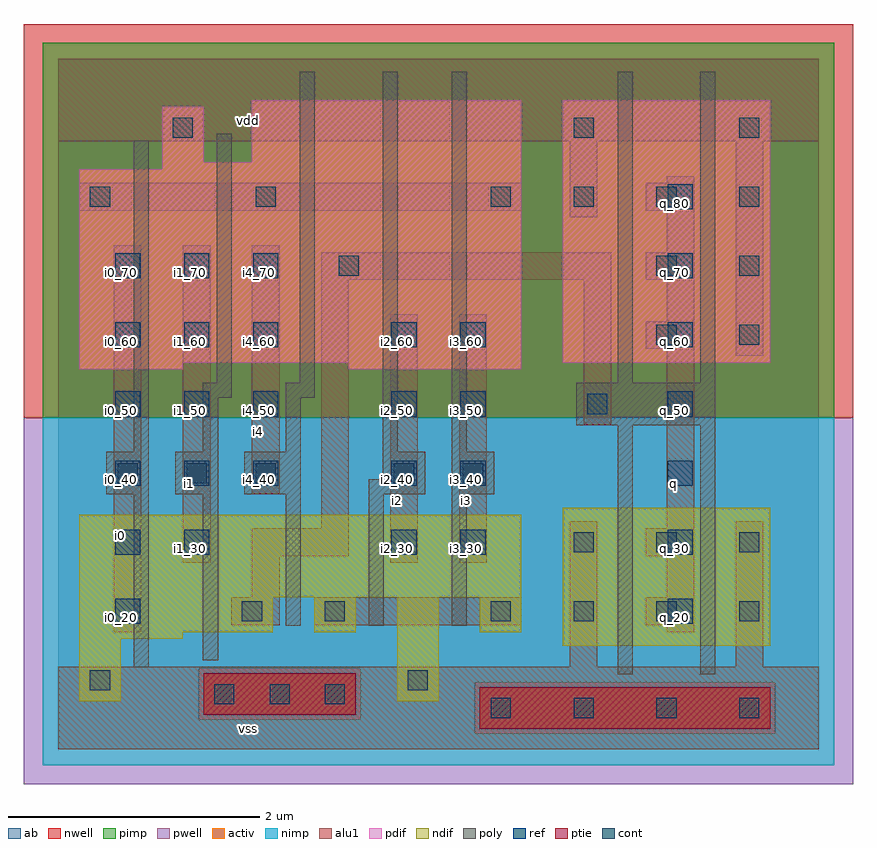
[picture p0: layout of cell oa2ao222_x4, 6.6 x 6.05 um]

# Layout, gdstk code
import gdstk
lib = gdstk.Library(unit=1e-6, precision=2.5e-09)
def R(c, l, rs):  # rectangles x0, y0, x1, y1
    for r in rs: c.add(gdstk.rectangle(r[:2], r[2:], *l))
def A(c, l, x, y, w, h, nx, ny, dx, dy):  # array of equal rectangles
    R(c, l, [(x+i*dx, y+j*dy, x+i*dx+w, y+j*dy+h) for i in range(nx) for j in range(ny)])
ndif = (3, 0)
pdif = (4, 0)
ptie = (6, 0)
ref = (24, 0)
cont = (25, 0)
pwell = (41, 0)
nwell = (42, 0)
activ = (43, 0)
pimp = (44, 0)
nimp = (45, 0)
poly = (46, 0)
alu1 = (49, 0)
ab = (63, 0)

oa2ao222_x4 = lib.new_cell('oa2ao222_x4')
R(oa2ao222_x4, ndif, [(0.165,0.385,0.495,0.88), (2.695,0.385,3.025,1.21), (4.015,0.825,5.665,1.925), (0.165,0.88,0.99,0.935), (0.165,0.935,1.705,1.21), (2.035,0.935,2.365,1.21), (3.355,0.935,3.685,1.21), (0.165,1.21,3.685,1.87)])
R(oa2ao222_x4, pdif, [(0.165,3.025,0.99,3.08), (2.31,3.025,3.685,3.08), (0.165,3.08,3.685,4.62), (4.015,3.08,5.665,5.17), (0.825,4.62,3.685,4.675), (0.825,4.675,1.155,5.115), (1.54,4.675,3.685,5.17)])
R(oa2ao222_x4, ptie, [(3.355,0.165,5.665,0.495), (1.155,0.275,2.365,0.605)])
A(oa2ao222_x4, ref, 4.85, 1, 0.2, 0.2, 1, 7, 0, 0.55)
A(oa2ao222_x4, ref, 2.65, 1.55, 0.2, 0.2, 1, 4, 0, 0.55)
A(oa2ao222_x4, ref, 3.2, 1.55, 0.2, 0.2, 1, 4, 0, 0.55)
A(oa2ao222_x4, ref, 0.45, 2.1, 0.2, 0.2, 3, 4, 0.55, 0.55)
R(oa2ao222_x4, ref, [(0.45,1,0.65,1.2), (0.45,1.55,0.65,1.75), (1,1.55,1.2,1.75)])
A(oa2ao222_x4, cont, 3.44, 0.25, 0.16, 0.16, 4, 2, 0.66, 0.77)
A(oa2ao222_x4, cont, 1.24, 0.36, 0.16, 0.16, 3, 1, 0.44, 0)
A(oa2ao222_x4, cont, 4.1, 1.57, 0.16, 0.16, 3, 1, 0.66, 0)
A(oa2ao222_x4, cont, 0.47, 2.12, 0.16, 0.16, 3, 1, 0.55, 0)
A(oa2ao222_x4, cont, 3.44, 4.32, 0.16, 0.16, 4, 1, 0.66, 0)
R(oa2ao222_x4, cont, [(0.25,0.47,0.41,0.63), (2.78,0.47,2.94,0.63), (1.46,1.02,1.62,1.18), (2.12,1.02,2.28,1.18), (2.67,2.12,2.83,2.28), (3.22,2.12,3.38,2.28), (4.21,2.67,4.37,2.83), (4.76,3.22,4.92,3.38), (5.42,3.22,5.58,3.38), (2.23,3.77,2.39,3.93), (4.76,3.77,4.92,3.93), (5.42,3.77,5.58,3.93), (0.25,4.32,0.41,4.48), (1.57,4.32,1.73,4.48), (0.91,4.87,1.07,5.03), (4.1,4.87,4.26,5.03), (5.42,4.87,5.58,5.03)])
R(oa2ao222_x4, pwell, [(-0.275,-0.275,6.325,2.64)])
R(oa2ao222_x4, nwell, [(-0.275,2.64,6.325,5.775)])
R(oa2ao222_x4, activ, [(3.355,0.165,5.665,0.495), (1.155,0.275,2.365,0.605), (0.165,0.385,0.495,0.88), (2.695,0.385,3.025,1.21), (4.015,0.825,5.665,1.925), (0.165,0.88,0.99,0.935), (0.165,0.935,1.705,1.21), (2.035,0.935,2.365,1.21), (3.355,0.935,3.685,1.21), (0.165,1.21,3.685,1.87), (0.165,3.025,0.99,3.08), (2.31,3.025,3.685,3.08), (0.165,3.08,3.685,4.62), (4.015,3.08,5.665,5.17), (0.825,4.62,3.685,4.675), (0.825,4.675,1.155,5.115), (1.54,4.675,3.685,5.17)])
R(oa2ao222_x4, pimp, [(3.315,0.125,5.705,0.535), (1.115,0.235,2.405,0.645), (-0.125,2.64,6.175,5.625)])
R(oa2ao222_x4, nimp, [(-0.125,-0.125,6.175,0.125), (-0.125,0.125,3.315,0.235), (5.705,0.125,6.175,0.535), (-0.125,0.235,1.115,0.645), (2.405,0.235,3.315,0.535), (2.405,0.535,6.175,0.645), (-0.125,0.645,6.175,2.64)])
A(oa2ao222_x4, poly, 1.81, 0.985, 0.12, 1.045, 3, 1, 0.66, 0)
R(oa2ao222_x4, poly, [(4.45,0.6,4.57,2.58), (5.11,0.6,5.23,2.58), (0.6,0.655,0.72,2.03), (1.15,0.71,1.27,2.03), (0.38,2.03,0.72,2.37), (0.93,2.03,1.27,2.37), (1.48,2.03,1.93,2.37), (2.47,2.03,2.92,2.15), (3.13,2.03,3.47,2.37), (2.58,2.15,2.92,2.37), (0.6,2.37,0.72,4.845), (1.15,2.37,1.27,2.8), (1.81,2.37,1.93,2.8), (2.58,2.37,2.7,5.395), (3.13,2.37,3.25,5.395), (4.12,2.58,5.23,2.92), (1.15,2.8,1.38,2.92), (1.81,2.8,2.04,2.92), (1.26,2.92,1.38,4.9), (1.92,2.92,2.04,5.395), (4.45,2.92,4.57,5.395), (5.11,2.92,5.23,5.395)])
A(oa2ao222_x4, alu1, 4.675, 3.19, 0.385, 0.22, 1, 3, 0, 0.55)
R(oa2ao222_x4, alu1, [(0,0,6.05,0.66), (4.07,0.66,4.29,1.815), (5.39,0.66,5.61,1.815), (0.44,0.935,0.66,4.015), (4.84,0.935,5.06,0.99), (1.375,0.99,1.76,1.21), (2.035,0.99,3.685,1.21), (4.675,0.99,5.06,1.21), (1.54,1.21,1.76,1.54), (4.84,1.21,5.06,1.54), (0.99,1.485,1.21,4.015), (2.64,1.485,2.86,3.465), (3.19,1.485,3.41,3.465), (1.54,1.54,2.31,1.76), (4.675,1.54,5.06,1.76), (2.09,1.76,2.31,3.74), (4.84,1.76,5.06,3.19), (1.54,2.035,1.76,4.015), (4.18,2.585,4.4,3.74), (5.39,3.135,5.61,4.84), (4.84,3.41,5.06,3.74), (2.09,3.74,4.4,3.96), (4.84,3.96,5.06,4.29), (4.07,4.235,4.29,4.84), (0.165,4.29,3.685,4.51), (4.84,4.51,5.06,4.565), (0,4.84,6.05,5.5)])
R(oa2ao222_x4, ab, [(0,0,6.05,5.5)])
oa2ao222_x4.add(gdstk.Label('vss', (1.5125,0.165), layer=49, texttype=0))
oa2ao222_x4.add(gdstk.Label('q', (4.895,2.1175), layer=49, texttype=0))
oa2ao222_x4.add(gdstk.Label('i3', (3.245,1.98), layer=49, texttype=0))
oa2ao222_x4.add(gdstk.Label('i2', (2.695,1.98), layer=49, texttype=0))
oa2ao222_x4.add(gdstk.Label('i4', (1.595,2.53), layer=49, texttype=0))
oa2ao222_x4.add(gdstk.Label('i1', (1.045,2.1175), layer=49, texttype=0))
oa2ao222_x4.add(gdstk.Label('i0', (0.495,1.705), layer=49, texttype=0))
oa2ao222_x4.add(gdstk.Label('vdd', (1.5125,5.005), layer=49, texttype=0))
oa2ao222_x4.add(gdstk.Label('i3_60', (3.25,3.25), layer=24, texttype=0))
oa2ao222_x4.add(gdstk.Label('i3_50', (3.25,2.7), layer=24, texttype=0))
oa2ao222_x4.add(gdstk.Label('i3_40', (3.25,2.15), layer=24, texttype=0))
oa2ao222_x4.add(gdstk.Label('i3_30', (3.25,1.6), layer=24, texttype=0))
oa2ao222_x4.add(gdstk.Label('i2_60', (2.7,3.25), layer=24, texttype=0))
oa2ao222_x4.add(gdstk.Label('i2_50', (2.7,2.7), layer=24, texttype=0))
oa2ao222_x4.add(gdstk.Label('i2_40', (2.7,2.15), layer=24, texttype=0))
oa2ao222_x4.add(gdstk.Label('i2_30', (2.7,1.6), layer=24, texttype=0))
oa2ao222_x4.add(gdstk.Label('i4_40', (1.6,2.15), layer=24, texttype=0))
oa2ao222_x4.add(gdstk.Label('i4_50', (1.6,2.7), layer=24, texttype=0))
oa2ao222_x4.add(gdstk.Label('i4_60', (1.6,3.25), layer=24, texttype=0))
oa2ao222_x4.add(gdstk.Label('i4_70', (1.6,3.8), layer=24, texttype=0))
oa2ao222_x4.add(gdstk.Label('i1_30', (1.05,1.6), layer=24, texttype=0))
oa2ao222_x4.add(gdstk.Label('i1_40', (1.05,2.15), layer=24, texttype=0))
oa2ao222_x4.add(gdstk.Label('i1_50', (1.05,2.7), layer=24, texttype=0))
oa2ao222_x4.add(gdstk.Label('i1_60', (1.05,3.25), layer=24, texttype=0))
oa2ao222_x4.add(gdstk.Label('i1_70', (1.05,3.8), layer=24, texttype=0))
oa2ao222_x4.add(gdstk.Label('i0_70', (0.5,3.8), layer=24, texttype=0))
oa2ao222_x4.add(gdstk.Label('i0_60', (0.5,3.25), layer=24, texttype=0))
oa2ao222_x4.add(gdstk.Label('i0_50', (0.5,2.7), layer=24, texttype=0))
oa2ao222_x4.add(gdstk.Label('i0_40', (0.5,2.15), layer=24, texttype=0))
oa2ao222_x4.add(gdstk.Label('i0_30', (0.5,1.6), layer=24, texttype=0))
oa2ao222_x4.add(gdstk.Label('i0_20', (0.5,1.05), layer=24, texttype=0))
oa2ao222_x4.add(gdstk.Label('q_30', (4.9,1.6), layer=24, texttype=0))
oa2ao222_x4.add(gdstk.Label('q_70', (4.9,3.8), layer=24, texttype=0))
oa2ao222_x4.add(gdstk.Label('q_20', (4.9,1.05), layer=24, texttype=0))
oa2ao222_x4.add(gdstk.Label('q_60', (4.9,3.25), layer=24, texttype=0))
oa2ao222_x4.add(gdstk.Label('q_50', (4.9,2.7), layer=24, texttype=0))
oa2ao222_x4.add(gdstk.Label('q_40', (4.9,2.15), layer=24, texttype=0))
oa2ao222_x4.add(gdstk.Label('q_80', (4.9,4.35), layer=24, texttype=0))

lib.write_gds('oa2ao222_x4.gds')
